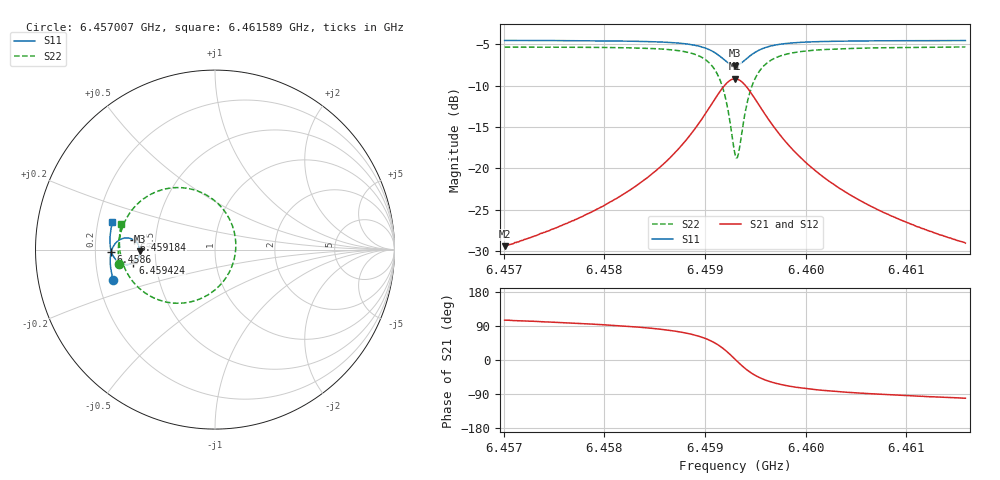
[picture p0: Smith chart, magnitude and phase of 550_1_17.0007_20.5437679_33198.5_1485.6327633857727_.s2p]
#  HZ  S  RI  R  50.00
! Rohde & Schwarz Vector Network Analyzer
! Rohde-Schwarz,ZNB20-2Port,1311601062101988,3.16
! Created: UTC 3/20/2024, 11:16:45 PM
! freq[Hz]  re:S11  im:S11  re:S21  im:S21  re:S12  im:S12  re:S22  im:S22
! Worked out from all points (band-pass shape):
!   401 points, 6.457007 GHz to 6.461589 GHz, reference 50 ohm
!   highest |S21| = -9.19 dB at 6.459298 GHz (marker M1); lowest = -29.4 dB at 6.457007 GHz (marker M2)
!   |S21| within 3 dB of the highest: 6.459069 GHz to 6.459527 GHz (458 kHz wide, 0.00709 % of centre)
!   lowest |S11| = -7.6 dB at 6.459298 GHz (marker M3), VSWR 2.43, Z = 20.5 - j0.452 ohm
!   |S11| at or under -10 dB: nowhere
!   |S22| runs from -18.8 to -5.3 dB; largest |S21 - S12| = 0.014
!   S11 on the Smith chart (normalised r, x): 6.457007 GHz: 0.26, -0.14; 6.4586 GHz: 0.27, -0.01; 6.459184 GHz: 0.37, +0.05; 6.459424 GHz: 0.37, -0.07; 6.461589 GHz: 0.26, +0.12
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6.4570075e9  -0.5673 -0.1699  -0.00884 0.0326  -0.00703 0.0325  -0.5333 -0.082
6.4577749e9  -0.581 -0.1026  -0.00545 0.0505  -0.00286 0.05  -0.5383 0.00812
6.458233e9  -0.5836 -0.0564  0.00151 0.0724  0.00479 0.0709  -0.5283 0.0821
6.4585423e9  -0.5798 -0.0189  0.0145 0.0992  0.0186 0.0964  -0.5038 0.1534
6.4585995e9  -0.578 -0.011  0.0189 0.106  0.023 0.103  -0.4956 0.1701
6.4588057e9  -0.5647 0.0211  0.0468 0.1384  0.0509 0.1335  -0.4435 0.2429
6.4589546e9  -0.542 0.0475  0.0925 0.169  0.0955 0.1622  -0.3594 0.3072
6.4590921e9  -0.498 0.0648  0.1801 0.1854  0.1809 0.1779  -0.1989 0.3455
6.4591837e9  -0.4533 0.0543  0.2701 0.1537  0.2704 0.1479  -0.0317 0.2943
6.4592524e9  -0.4242 0.0221  0.3308 0.0814  0.3329 0.0761  0.0838 0.1637
6.4592982e9  -0.4174 -0.00909  0.347 0.0131  0.3508 0.00616  0.116 0.0358
6.4593097e9  -0.4179 -0.0171  0.3468 -0.00484  0.3507 -0.0124  0.1155 0.0019
6.4593326e9  -0.4214 -0.0328  0.3411 -0.0396  0.345 -0.0488  0.1041 -0.0642
6.4593784e9  -0.437 -0.059  0.3123 -0.0997  0.3145 -0.1117  0.0456 -0.178
6.4594242e9  -0.4592 -0.0753  0.2699 -0.1409  0.269 -0.1542  -0.0402 -0.253
6.4595158e9  -0.5028 -0.0822  0.1845 -0.1719  0.1782 -0.1834  -0.2103 -0.2987
6.4596647e9  -0.5467 -0.0616  0.0962 -0.1576  0.0876 -0.1639  -0.3789 -0.2485
6.4598365e9  -0.5693 -0.032  0.0492 -0.1276  0.0416 -0.1303  -0.463 -0.1711
6.4600656e9  -0.581 0.00164  0.0221 -0.0979  0.0162 -0.0982  -0.5074 -0.0927
6.4604092e9  -0.5855 0.0427  0.00607 -0.0708  0.00198 -0.0703  -0.5287 -0.0132
6.460833e9  -0.5834 0.0853  -0.00143 -0.052  -0.00446 -0.0512  -0.5328 0.0551
6.461589e9  -0.5712 0.1523  -0.00665 -0.0346  -0.00833 -0.0338  -0.5211 0.1446
